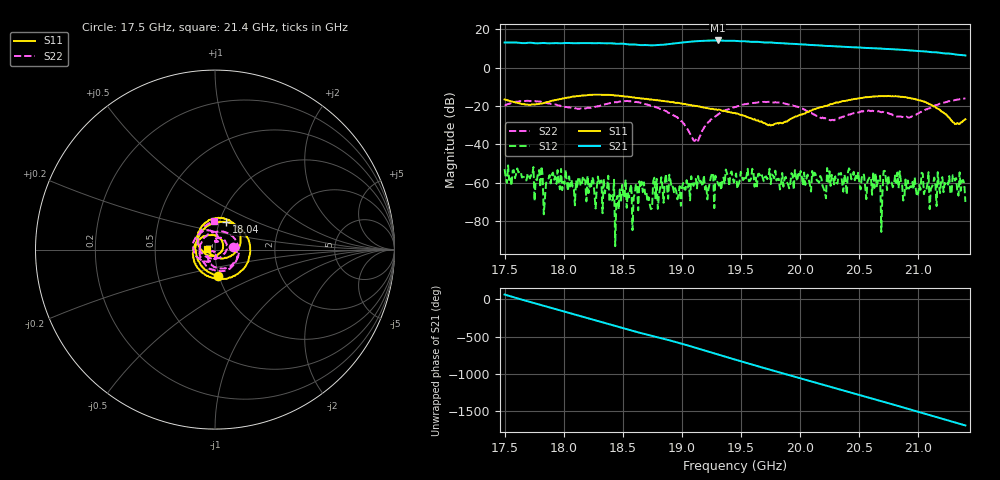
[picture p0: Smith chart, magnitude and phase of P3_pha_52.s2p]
!Created with skrf (http://scikit-rf.org).
# GHz S RI R 50.0
!freq ReS11 ImS11 ReS21 ImS21 ReS12 ImS12 ReS22 ImS22
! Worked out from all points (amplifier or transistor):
!   401 points, 17.5 GHz to 21.4 GHz, reference 50 ohm
!   highest |S21| = 14.1 dB at 19.3 GHz (marker M1)
!   |S21| within 3 dB of that: start of sweep to 20.28 GHz
!   unconditionally stable (mu >= 1): start of sweep to end of sweep
!   at 18.14 GHz: K = 134.99, MAG = 12.9 dB, |S12| = -61.7 dB
!   at 19.45 GHz: K = 74.88, MAG = 14.0 dB, |S12| = -57.5 dB
!   at 21.4 GHz: K = 740.95, MAG = 6.4 dB, |S12| = -70.0 dB
!   S11 on the Smith chart (normalised r, x): 17.5 GHz: 0.99, -0.30; 18.04 GHz: 1.08, +0.34; 21.4 GHz: 0.91, +0.00
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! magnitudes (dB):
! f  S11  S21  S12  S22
! 17.5 GHz  -16.6  13.1  -52.9  -19.9
! 17.8 GHz  -18.8  12.7  -62.3  -17.7
! 17.85 GHz  -18.1  12.7  -60.1  -18.3
! 17.89 GHz  -17.5  12.6  -60.4  -18.9
! 18.04 GHz  -15.6  12.8  -64.3  -20.7
! 18.15 GHz  -14.6  12.7  -60.7  -21.2
! 18.36 GHz  -14.1  12.6  -62.5  -19.0
! 18.46 GHz  -14.6  12.4  -66.8  -18.0
! 18.66 GHz  -16.2  11.7  -59.4  -18.4
! 18.73 GHz  -16.6  11.6  -71.2  -19.6
! 18.81 GHz  -17.1  11.8  -66.5  -21.2
! 18.88 GHz  -17.8  12.2  -68.3  -23.5
! 18.97 GHz  -18.4  12.8  -65.9  -26.9
! 19.12 GHz  -20.0  13.7  -57.9  -37.6
! 19.3 GHz  -22.0  14.1  -59.9  -24.5
! 19.45 GHz  -23.6  13.9  -57.5  -20.5
! 19.75 GHz  -30.2  13.1  -60.7  -18.1
! 20.1 GHz  -22.1  11.7  -53.9  -23.9
! 20.76 GHz  -14.8  9.7  -60.7  -24.1
! 21 GHz  -16.9  8.6  -65.5  -23.9
! 21.31 GHz  -29.4  6.9  -58.8  -16.9
! 21.4 GHz  -26.9  6.3  -70.0  -16.0
